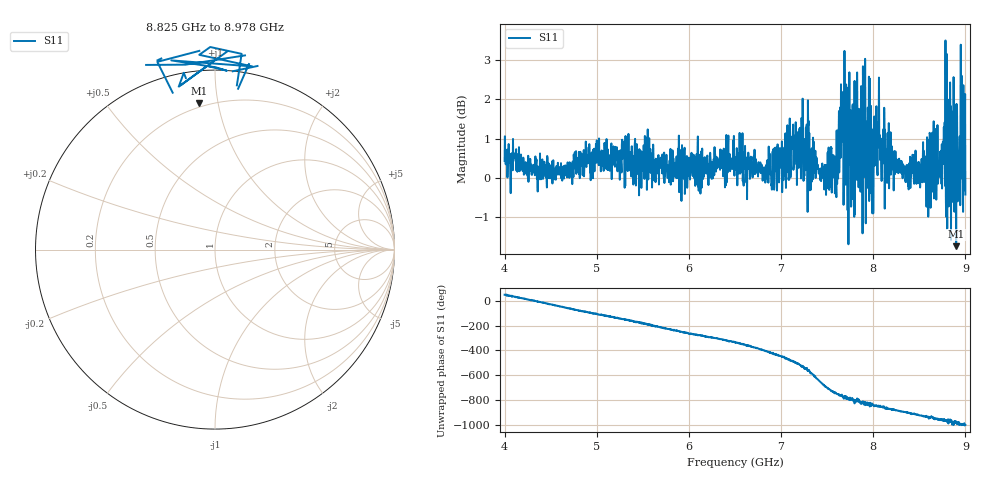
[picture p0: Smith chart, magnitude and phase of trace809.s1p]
! Created with skrf 1.8.0 (http://scikit-rf.org).
# Hz S RI R 50.0
!freq ReS11 ImS11
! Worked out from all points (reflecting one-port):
!   1601 points, 4 GHz to 9 GHz, reference 50 ohm
!   lowest |S11| = -1.7 dB at 8.9 GHz (marker M1), VSWR 10.04, Z = 8.94 + j44.2 ohm
!   phase of S11 starts at 50 deg and turns -1052 deg over the sweep
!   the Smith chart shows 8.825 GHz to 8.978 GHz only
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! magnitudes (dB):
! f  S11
! 4 GHz  0.4
! 4.625 GHz  -0.1
! 4.988 GHz  0.5
! 5.25 GHz  0.0
! 5.875 GHz  0.4
! 6.5 GHz  0.5
! 6.819 GHz  0.0
! 7.125 GHz  0.9
! 7.209 GHz  1.0
! 7.262 GHz  0.9
! 7.281 GHz  0.2
! 7.328 GHz  0.7
! 7.512 GHz  -0.2
! 7.597 GHz  -0.2
! 7.672 GHz  2.2
! 7.75 GHz  0.3
! 7.775 GHz  1.8
! 7.828 GHz  1.7
! 8.003 GHz  0.1
! 8.047 GHz  0.1
! 8.197 GHz  0.3
! 8.375 GHz  0.0
! 8.725 GHz  0.7
! 8.822 GHz  0.9
! 8.9 GHz  -1.7
! 8.919 GHz  0.2
! 8.972 GHz  0.4
! 9 GHz  -0.4
